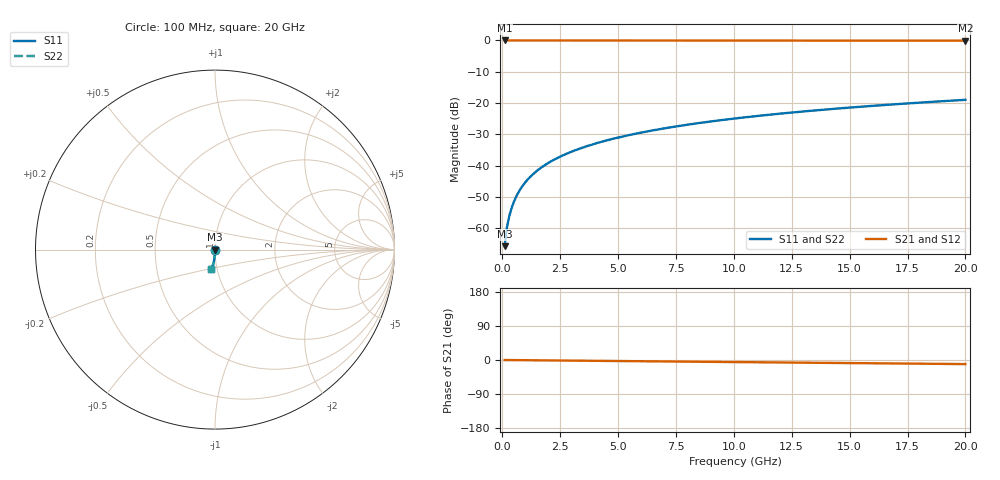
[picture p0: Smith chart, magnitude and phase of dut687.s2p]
! Touchstone file exported from HFSS 2026.1.0
!  File:  C:/ffzhzh/LocalFiles/Ansys_Project_Files/temp_train_TSV_687_1783027527_55676.aedt
!  Generated:  05:26:59 AM Jul  3, 2026
!  Design:  TSV
!  Project:  temp_train_TSV_687_1783027527_55676
! Variables:
!  h_bsmrdl = 2um
!  h_ox = 20um
!  h_rdl = 5um
!  h_sub = 93.08um
!  h_tmrdl = 5um
!  h_tsv = 93.08um
!  h_via = 3um
!  l_bsmrdl = 300um
!  l_sub = 429.86um
!  l_tmrdl = 200um
!  m_sub = 200um
!  pitch = 36.79um
!  r_tsv = 14.93um
!  s_tmrdl = 10um
!  w_bsmrdl = 18um
!  w_sub = 500um
!  w_tmrdl = 12um
!  x_tsv_center1 = 206um
!  x_tsv_center2 = 524um
!  x_tsv_center3 = 736um
!  x_tsv_center4 = 1054um
!  x_tsv_center5 = 1266um
!  x_tsv_center6 = 1584um
# GHz S MA R 50.000000
! Terminal data exported
! Port[1] = TSV1_1_T1
! Port[2] = TSV1_1_T2
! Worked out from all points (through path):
!   200 points, 100 MHz to 20 GHz, reference 50 ohm
!   highest |S21| = 0.00 dB at 100 MHz (marker M1); lowest = -0.1 dB at 20 GHz (marker M2)
!   group delay of S21, straight-line fit = 1.5 ps
!   lowest |S11| = -65.8 dB at 100 MHz (marker M3), VSWR 1.00, Z = 50 - j0.0507 ohm
!   |S11| at or under -10 dB: start of sweep to end of sweep
!   |S22| runs from -65.8 to -19.0 dB; largest |S21 - S12| = 3.4e-15
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0.1  0.0005149 -79.7  0.9999 -0.1  0.9999 -0.1  0.0005149 -79.7
! Gamma 0 0 0 0
! Port Impedance 50 0 50 0
0.2  0.001026 -83.7  0.9999 -0.1  0.9999 -0.1  0.001026 -83.7
0.3  0.001551 -84.7  0.9999 -0.2  0.9999 -0.2  0.001551 -84.7
0.4  0.002088 -85.2  0.9998 -0.2  0.9998 -0.2  0.002088 -85.2
0.5  0.002635 -85.6  0.9998 -0.3  0.9998 -0.3  0.002635 -85.6
0.7  0.003747 -86.2  0.9997 -0.4  0.9997 -0.4  0.003747 -86.2
0.8  0.004309 -86.4  0.9997 -0.4  0.9997 -0.4  0.004309 -86.4
1  0.005437 -87.0  0.9996 -0.6  0.9996 -0.6  0.005437 -87.0
1.2  0.006567 -87.4  0.9996 -0.7  0.9996 -0.7  0.006567 -87.4
1.4  0.007696 -87.8  0.9996 -0.8  0.9996 -0.8  0.007696 -87.8
1.7  0.00939 -88.3  0.9995 -0.9  0.9995 -0.9  0.00939 -88.3
2  0.01108 -88.7  0.9995 -1.1  0.9995 -1.1  0.01108 -88.7
2.7  0.01503 -89.5  0.9994 -1.5  0.9994 -1.5  0.01503 -89.5
3.5  0.01954 -90.2  0.9992 -1.9  0.9992 -1.9  0.01954 -90.2
4.2  0.0235 -90.7  0.9991 -2.3  0.9991 -2.3  0.0235 -90.7
5  0.02803 -91.3  0.9989 -2.7  0.9989 -2.7  0.02803 -91.3
6.8  0.03823 -92.5  0.9984 -3.7  0.9984 -3.7  0.03823 -92.5
8.3  0.04673 -93.4  0.998 -4.5  0.998 -4.5  0.04673 -93.4
10.1  0.05692 -94.5  0.9974 -5.5  0.9974 -5.5  0.05692 -94.5
13.4  0.07554 -96.4  0.996 -7.3  0.996 -7.3  0.07554 -96.4
16.7  0.09406 -98.2  0.9943 -9.0  0.9943 -9.0  0.09406 -98.2
20  0.1124 -100.0  0.9922 -10.8  0.9922 -10.8  0.1124 -100.0
